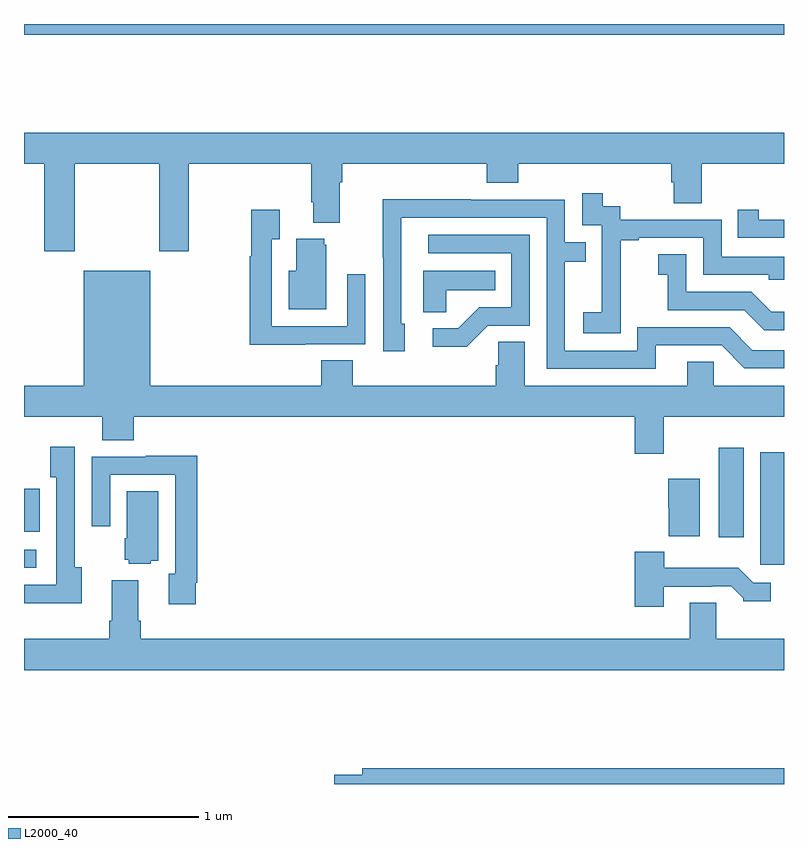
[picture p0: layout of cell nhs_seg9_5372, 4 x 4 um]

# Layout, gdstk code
import gdstk
lib = gdstk.Library(unit=1e-6, precision=1e-09)
def R(c, l, rs):  # rectangles x0, y0, x1, y1
    for r in rs: c.add(gdstk.rectangle(r[:2], r[2:], *l))
def P(c, l, *ps):  # polygons
    for p in ps: c.add(gdstk.Polygon(p, *l))
L2000_40 = (2000, 40)

nhs_seg9_5372 = lib.new_cell('nhs_seg9_5372')
R(nhs_seg9_5372, L2000_40, [(423,1183.638,423.064,1183.734), (426.875,1183.653,427,1184.245), (426.656,1183.8,426.787,1184.269), (423,1183.827,423.082,1184.055), (423,1186.444,427,1186.5)])
P(nhs_seg9_5372, L2000_40, [(423.267,1185.764),(423.712,1185.764),(423.712,1185.303),(423.867,1185.303),(423.867,1185.764),(424.511,1185.764),(424.511,1185.562),(424.523,1185.562),(424.523,1185.455),(424.663,1185.455),(424.663,1185.668),(424.676,1185.668),(424.676,1185.764),(425.435,1185.764),(425.435,1185.665),(425.6,1185.665),(425.6,1185.764),(426.407,1185.764),(426.407,1185.666),(426.419,1185.666),(426.419,1185.556),(426.567,1185.556),(426.567,1185.764),(427,1185.764),(427,1185.928),(423,1185.928),(423,1185.764),(423.107,1185.764),(423.107,1185.303),(423.267,1185.303)],
  [(426.141,1185.079),(426.14,1185.079),(426.14,1185.363),(426.235,1185.363),(426.235,1185.375),(426.576,1185.375),(426.576,1185.18),(426.921,1185.18),(426.921,1185.153),(427,1185.153),(427,1185.276),(426.672,1185.276),(426.672,1185.471),(426.138,1185.471),(426.138,1185.54),(426.046,1185.54),(426.046,1185.61),(425.937,1185.61),(425.937,1185.441),(426.042,1185.441),(426.042,1185.212),(426.041,1185.212),(426.041,1184.983),(425.943,1184.983),(425.943,1184.873),(426.141,1184.873)],
  [(426.325,1184.808),(426.672,1184.808),(426.792,1184.688),(427,1184.688),(427,1184.784),(426.834,1184.784),(426.714,1184.904),(426.228,1184.904),(426.228,1184.781),(425.847,1184.781),(425.847,1185.25),(425.957,1185.25),(425.957,1185.351),(425.847,1185.351),(425.847,1185.576),(425.351,1185.576),(425.351,1185.578),(424.888,1185.578),(424.888,1185.271),(424.89,1185.271),(424.89,1184.778),(425.005,1184.778),(425.005,1184.922),(424.986,1184.922),(424.986,1185.48),(425.751,1185.48),(425.751,1184.685),(426.325,1184.685)],
  [(427,1185.471),(426.868,1185.471),(426.868,1185.523),(426.757,1185.523),(426.757,1185.375),(427,1185.375)],
  [(424.481,1184.814),(424.797,1184.814),(424.797,1185.184),(424.701,1185.184),(424.701,1184.91),(424.305,1184.91),(424.305,1185.367),(424.345,1185.367),(424.345,1185.523),(424.197,1185.523),(424.197,1185.278),(424.189,1185.278),(424.189,1184.813),(424.481,1184.813)],
  [(425.442,1184.913),(425.661,1184.913),(425.661,1185.39),(425.127,1185.39),(425.127,1185.294),(425.565,1185.294),(425.565,1185.009),(425.396,1185.009),(425.285,1184.898),(425.151,1184.898),(425.151,1184.801),(425.329,1184.801)],
  [(424.591,1185.339),(424.58,1185.339),(424.58,1185.37),(424.433,1185.37),(424.433,1185.202),(424.394,1185.202),(424.394,1184.999),(424.591,1184.999)],
  [(427,1184.986),(426.932,1184.986),(426.828,1185.09),(426.486,1185.09),(426.486,1185.289),(426.339,1185.289),(426.339,1185.179),(426.388,1185.179),(426.388,1184.994),(426.791,1184.994),(426.896,1184.889),(427,1184.889)],
  [(426.367,1184.432),(427,1184.432),(427,1184.596),(426.63,1184.596),(426.63,1184.723),(426.491,1184.723),(426.491,1184.596),(425.635,1184.596),(425.635,1184.828),(425.496,1184.828),(425.496,1184.705),(425.483,1184.705),(425.483,1184.596),(424.73,1184.596),(424.73,1184.729),(424.565,1184.729),(424.565,1184.596),(423.664,1184.596),(423.664,1185.202),(423.314,1185.202),(423.314,1184.596),(423,1184.596),(423,1184.432),(423.413,1184.432),(423.413,1184.308),(423.578,1184.308),(423.578,1184.432),(426.215,1184.432),(426.215,1184.238),(426.367,1184.238)],
  [(425.223,1185.098),(425.48,1185.098),(425.48,1185.202),(425.102,1185.202),(425.102,1184.983),(425.223,1184.983)],
  [(423.304,1183.642),(423.267,1183.642),(423.267,1184.275),(423.137,1184.275),(423.137,1184.114),(423.171,1184.114),(423.171,1183.548),(423,1183.548),(423,1183.451),(423.304,1183.451)],
  [(423.904,1183.558),(423.911,1183.558),(423.911,1184.227),(423.641,1184.227),(423.641,1184.223),(423.357,1184.223),(423.357,1183.857),(423.453,1183.857),(423.453,1184.127),(423.795,1184.127),(423.795,1183.607),(423.761,1183.607),(423.761,1183.446),(423.904,1183.446)],
  [(426.556,1184.107),(426.392,1184.107),(426.392,1183.953),(426.394,1183.953),(426.394,1183.805),(426.556,1183.805)],
  [(423.666,1183.676),(423.706,1183.676),(423.706,1184.042),(423.542,1184.042),(423.542,1183.794),(423.53,1183.794),(423.53,1183.68),(423.552,1183.68),(423.552,1183.658),(423.666,1183.658)],
  [(426.367,1183.539),(426.623,1183.539),(426.623,1183.542),(426.722,1183.542),(426.786,1183.478),(426.786,1183.463),(426.931,1183.463),(426.931,1183.56),(426.837,1183.56),(426.759,1183.639),(426.37,1183.639),(426.37,1183.723),(426.215,1183.723),(426.215,1183.434),(426.367,1183.434)],
  [(427,1183.264),(426.643,1183.264),(426.643,1183.454),(426.503,1183.454),(426.503,1183.264),(423.614,1183.264),(423.614,1183.36),(423.601,1183.36),(423.601,1183.573),(423.461,1183.573),(423.461,1183.36),(423.449,1183.36),(423.449,1183.264),(423,1183.264),(423,1183.1),(427,1183.1)],
  [(427,1182.584),(424.781,1182.584),(424.781,1182.548),(424.632,1182.548),(424.632,1182.5),(427,1182.5)])

lib.write_gds('nhs_seg9_5372.gds')
